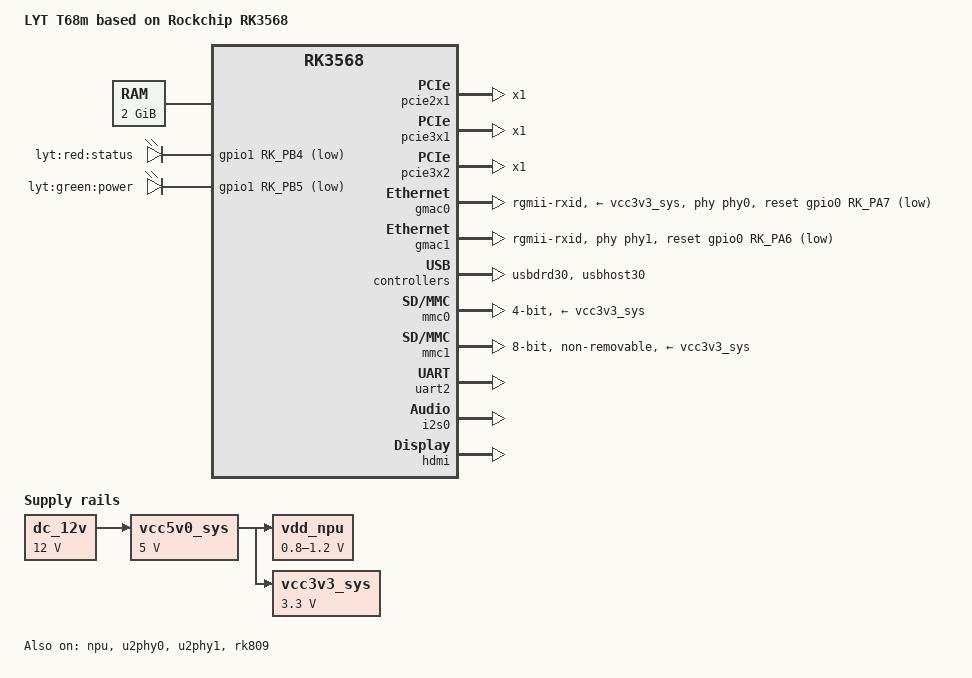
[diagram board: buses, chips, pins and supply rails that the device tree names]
/*
 * RK3568 LYT T68m Device Tree for Linux 6.1.76
 * Compatible with Armbian 25.02
 */
/dts-v1/;
#include "rk3568.dtsi"
#include <dt-bindings/input/input.h>
#include <dt-bindings/gpio/gpio.h>
#include <dt-bindings/clock/rk3568-cru.h>
#include <dt-bindings/power/rk3568-power.h>
#include <dt-bindings/reset/rk3568-cru.h>

/ {
	model = "LYT T68m based on Rockchip RK3568";
	compatible = "lyt,rk3568-lyt-t68m", "rockchip,rk3568";

	aliases {
		ethernet0 = &gmac0;
		ethernet1 = &gmac1;
		mmc0 = &mmc0;
		mmc1 = &mmc1;
		serial0 = &uart2;
		led0 = &status_led;
		led1 = &power_led;
	};

	chosen {
		stdout-path = "serial0:115200n8";
	};

	memory@0 {
		device_type = "memory";
		reg = <0x0 0x00000000 0x0 0x80000000>; // 2GB 默认配置，可按需修改
	};

	/* 电源域适配 6.1 内核 */
	vdd_npu: vdd-npu-regulator {
		compatible = "regulator-fixed";
		regulator-name = "vdd_npu";
		regulator-min-microvolt = <800000>;
		regulator-max-microvolt = <1200000>;
		regulator-always-on;
		regulator-boot-on;
		vin-supply = <&vcc5v0_sys>;
		status = "okay";
	};

	vcc5v0_sys: vcc5v0-sys-regulator {
		compatible = "regulator-fixed";
		regulator-name = "vcc5v0_sys";
		regulator-min-microvolt = <5000000>;
		regulator-max-microvolt = <5000000>;
		regulator-always-on;
		regulator-boot-on;
		vin-supply = <&dc_12v>;
		status = "okay";
	};

	vcc3v3_sys: vcc3v3-sys-regulator {
		compatible = "regulator-fixed";
		regulator-name = "vcc3v3_sys";
		regulator-min-microvolt = <3300000>;
		regulator-max-microvolt = <3300000>;
		regulator-always-on;
		regulator-boot-on;
		vin-supply = <&vcc5v0_sys>;
		status = "okay";
	};

	dc_12v: dc-12v-regulator {
		compatible = "regulator-fixed";
		regulator-name = "dc_12v";
		regulator-min-microvolt = <12000000>;
		regulator-max-microvolt = <12000000>;
		regulator-always-on;
		regulator-boot-on;
		status = "okay";
	};

	/* 指示灯适配 6.1 内核 */
	status_led: led@0 {
		compatible = "gpio-leds";
		status = "okay";
		heartbeat {
			label = "lyt:red:status";
			gpios = <&gpio1 RK_PB4 GPIO_ACTIVE_LOW>;
			linux,default-trigger = "heartbeat";
			default-state = "off";
		};
	};

	power_led: led@1 {
		compatible = "gpio-leds";
		status = "okay";
		power {
			label = "lyt:green:power";
			gpios = <&gpio1 RK_PB5 GPIO_ACTIVE_LOW>;
			linux,default-trigger = "default-on";
			default-state = "on";
		};
	};
};

/* 6.1 内核时钟节点适配：ACLK_NPU → CLK_NPU */
&npu {
	compatible = "rockchip,rk3568-npu";
	reg = <0x0 0xfe800000 0x0 0x800000>;
	interrupts = <GIC_SPI 164 IRQ_TYPE_LEVEL_HIGH>;
	clocks = <&cru CLK_NPU>, <&cru HCLK_NPU>; // 关键修改：替换 ACLK_NPU 为 CLK_NPU
	clock-names = "aclk_npu", "hclk_npu";
	power-domains = <&power RK3568_PD_NPU>;
	status = "okay"; // 启用 NPU
};

/* PCIe 适配 6.1 内核：新增 num-lanes 属性 */
&pcie2x1 {
	compatible = "rockchip,rk3568-pcie", "snps,dw-pcie";
	reg = <0x0 0xfe200000 0x0 0x10000>;
	reg-names = "dbi";
	#address-cells = <3>;
	#size-cells = <2>;
	device_type = "pci";
	ranges = <0x82000000 0x0 0x00000000 0x0 0xfe210000 0x0 0x00010000>,
			 <0x81000000 0x0 0x00000000 0x1 0x00000000 0x1 0x00000000>;
	num-lanes = <1>; // 6.1 内核新增必填属性
	clocks = <&cru ACLK_PCIE2x1>, <&cru HCLK_PCIE2x1>, <&cru SCLK_PCIE2x1_REF>;
	clock-names = "aclk", "hclk", "refclk";
	resets = <&cru RST_PCIE2x1>;
	reset-names = "pcie";
	power-domains = <&power RK3568_PD_PCIE>;
	status = "okay";
};

&pcie3x1 {
	num-lanes = <1>; // 6.1 内核新增必填属性
	status = "okay";
};

&pcie3x2 {
	num-lanes = <1>; // 6.1 内核新增必填属性
	status = "okay";
};

/* 以太网适配 6.1 内核：调整 PHY 配置 */
&gmac0 {
	compatible = "rockchip,rk3568-gmac", "snps,dwmac-5.20a";
	reg = <0x0 0xfe300000 0x0 0x10000>;
	interrupts = <GIC_SPI 112 IRQ_TYPE_LEVEL_HIGH>,
				 <GIC_SPI 113 IRQ_TYPE_LEVEL_HIGH>;
	interrupt-names = "macirq", "eth_wake_irq";
	clocks = <&cru ACLK_GMAC0>, <&cru PCLK_GMAC0>, <&cru SCLK_GMAC0_RX_TX>,
			 <&cru SCLK_GMAC0_PTP>;
	clock-names = "aclk_mac", "pclk_mac", "txclk", "ptpclk";
	phy-mode = "rgmii-rxid";
	phy-handle = <&phy0>;
	phy-supply = <&vcc3v3_sys>;
	snps,reset-gpio = <&gpio0 RK_PA7 GPIO_ACTIVE_LOW>;
	snps,reset-active-low;
	snps,reset-delays-us = <0 10000 1000000>;
	tx_delay = <0x30>;
	rx_delay = <0x10>;
	status = "okay";
};

&gmac1 {
	phy-mode = "rgmii-rxid";
	phy-handle = <&phy1>;
	snps,reset-gpio = <&gpio0 RK_PA6 GPIO_ACTIVE_LOW>;
	tx_delay = <0x30>;
	rx_delay = <0x10>;
	status = "okay";
};

/* USB 适配 6.1 内核：调整 PHY 命名 */
&u2phy0 {
	status = "okay";
};

&u2phy1 {
	status = "okay";
};

&usbdrd30 {
	status = "okay";
};

&usbhost30 {
	status = "okay";
};

/* 存储适配 6.1 内核 */
&mmc0 {
	bus-width = <4>;
	max-frequency = <150000000>;
	cap-mmc-highspeed;
	cap-sd-highspeed;
	disable-wp;
	mmc-hs200-1_8v;
	no-sdio;
	no-mmc;
	sd-uhs-sdr104;
	vmmc-supply = <&vcc3v3_sys>;
	vqmmc-supply = <&vcc3v3_sys>;
	status = "okay";
};

&mmc1 {
	bus-width = <8>;
	max-frequency = <200000000>;
	non-removable;
	cap-mmc-highspeed;
	mmc-hs200-1_8v;
	mmc-hs400-1_8v;
	vmmc-supply = <&vcc3v3_sys>;
	vqmmc-supply = <&vcc3v3_sys>;
	status = "okay";
};

/* 调试串口适配 */
&uart2 {
	status = "okay";
};

/* PMIC 适配 6.1 内核 */
&rk809 {
	status = "okay";
};

/* 音频适配 6.1 内核 */
&i2s0 {
	status = "okay";
};

&hdmi {
	status = "okay";
};
